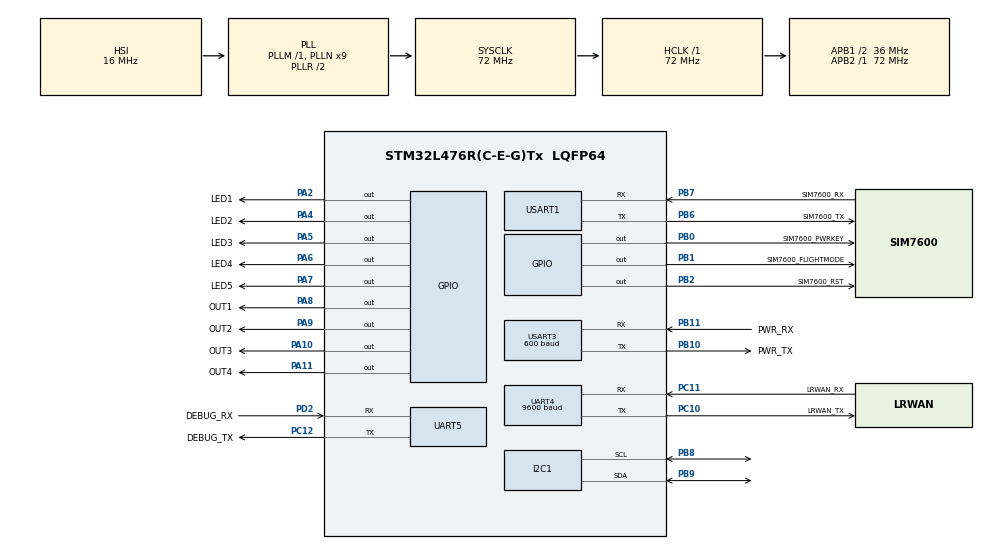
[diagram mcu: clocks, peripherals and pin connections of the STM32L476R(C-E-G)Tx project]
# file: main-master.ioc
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Mcu.Family=STM32L4
PA11.GPIO_Speed=GPIO_SPEED_FREQ_VERY_HIGH
NVIC.USART3_IRQn=true\:2\:0\:true\:false\:true\:true\:true
PA2.GPIO_PuPd=GPIO_NOPULL
TIM2.Channel-Output\ Compare1\ No\ Output=TIM_CHANNEL_1
RCC.CortexFreq_Value=72000000
PB10.Mode=Asynchronous
PA10.GPIO_PuPd=GPIO_NOPULL
PC10.Signal=UART4_TX
PC12.Signal=UART5_TX
VP_IWDG_VS_IWDG.Mode=IWDG_Activate
PB2.GPIO_Speed=GPIO_SPEED_FREQ_VERY_HIGH
PA2.GPIO_Speed=GPIO_SPEED_FREQ_VERY_HIGH
PA7.GPIO_ModeDefaultOutputPP=GPIO_MODE_OUTPUT_PP
PA6.GPIO_Label=LED4
PB0.GPIO_Label=SIM7600_PWRKEY
PB6.GPIO_Label=SIM7600_TX
PA11.GPIO_PuPd=GPIO_NOPULL
PB11.Signal=USART3_RX
PA5.PinState=GPIO_PIN_RESET
RCC.SYSCLKSource=RCC_SYSCLKSOURCE_PLLCLK
ProjectManager.StackSize=0x400
USART3.VirtualMode-Asynchronous=VM_ASYNC
PA14\ (JTCK-SWCLK).Signal=SYS_JTCK-SWCLK
USART3.BaudRate=600
PA7.PinState=GPIO_PIN_RESET
PA10.PinState=GPIO_PIN_RESET
PB0.PinState=GPIO_PIN_RESET
PB1.GPIO_PuPd=GPIO_NOPULL
UART4.BaudRate=9600
RCC.HCLKFreq_Value=72000000
RCC.APB2TimFreq_Value=72000000
PB6.Signal=USART1_TX
PB6.Mode=Asynchronous
RCC.AHBFreq_Value=72000000
RCC.HSE_VALUE=8000000
VP_TIM2_VS_no_output1.Mode=Output Compare1 No Output
PA4.GPIO_PuPd=GPIO_NOPULL
PB2.Signal=GPIO_Output
PA4.GPIO_Speed=GPIO_SPEED_FREQ_VERY_HIGH
PA11.GPIO_ModeDefaultOutputPP=GPIO_MODE_OUTPUT_PP
PA2.PinState=GPIO_PIN_RESET
PA6.GPIO_PuPd=GPIO_NOPULL
PB1.GPIO_Speed=GPIO_SPEED_FREQ_VERY_HIGH
PA5.GPIO_PuPd=GPIO_NOPULL
PB1.GPIO_Label=SIM7600_FLIGHTMODE
PC11.GPIO_Label=LRWAN_RX
NVIC.TIM2_IRQn=true\:3\:0\:true\:false\:true\:true\:true
PA10.GPIO_Label=OUT3
PB7.Signal=USART1_RX
PA8.Signal=GPIO_Output
PA8.GPIO_ModeDefaultOutputPP=GPIO_MODE_OUTPUT_PP
PB2.GPIO_PuPd=GPIO_NOPULL
RCC.UART4CLockSelection=RCC_UART4CLKSOURCE_HSI
PB1.PinState=GPIO_PIN_RESET
PB7.GPIO_Label=SIM7600_RX
Mcu.Package=LQFP64
PB9.Signal=I2C1_SDA
TIM2.Prescaler=7199
PB1.Signal=GPIO_Output
PA6.Signal=GPIO_Output
PA2.GPIO_ModeDefaultOutputPP=GPIO_MODE_OUTPUT_PP
PA2.GPIO_Label=LED1
IWDG.Reload=4000
PA10.Signal=GPIO_Output
PC11.Mode=Asynchronous
PA4.GPIO_ModeDefaultOutputPP=GPIO_MODE_OUTPUT_PP
PA10.GPIO_Speed=GPIO_SPEED_FREQ_VERY_HIGH
PA6.GPIO_ModeDefaultOutputPP=GPIO_MODE_OUTPUT_PP
RCC.UART5CLockSelection=RCC_UART5CLKSOURCE_HSI
RCC.APB1TimFreq_Value=72000000
PB0.GPIO_ModeDefaultOutputPP=GPIO_MODE_OUTPUT_PP
PA6.GPIO_Speed=GPIO_SPEED_FREQ_VERY_HIGH
PA13\ (JTMS-SWDIO).Signal=SYS_JTMS-SWDIO
NVIC.USART1_IRQn=true\:0\:0\:false\:false\:true\:true\:true
PB2.GPIO_ModeDefaultOutputPP=GPIO_MODE_OUTPUT_PP
PA4.GPIO_Label=LED2
PA8.GPIO_Speed=GPIO_SPEED_FREQ_VERY_HIGH
PA8.PinState=GPIO_PIN_RESET
NVIC.UART4_IRQn=true\:1\:0\:true\:false\:true\:true\:true
RCC.MSI_VALUE=4000000
RCC.PLLSourceVirtual=RCC_PLLSOURCE_HSI
PA14\ (JTCK-SWCLK).Mode=Serial_Wire
PC10.GPIO_Label=LRWAN_TX
PC11.Signal=UART4_RX
PA9.GPIO_Label=OUT2
RCC.I2C1CLockSelection=RCC_I2C1CLKSOURCE_HSI
PC10.Mode=Asynchronous
PB11.GPIO_Label=PWR_RX
PA11.GPIO_Label=OUT4
PA6.PinState=GPIO_PIN_RESET
RCC.APB1CLKDivider=RCC_HCLK_DIV2
PA9.GPIO_PuPd=GPIO_NOPULL
PB0.GPIO_Speed=GPIO_SPEED_FREQ_VERY_HIGH
USART1.VirtualMode-Asynchronous=VM_ASYNC
PA8.GPIO_Label=OUT1
PA4.PinState=GPIO_PIN_RESET
PB11.Mode=Asynchronous
ProjectManager.TargetToolchain=STM32CubeIDE
PB10.GPIO_Label=PWR_TX
PA10.GPIO_ModeDefaultOutputPP=GPIO_MODE_OUTPUT_PP
PB9.Mode=I2C
PA9.Signal=GPIO_Output
I2C1.Timing=0x00303D5B
PA9.PinState=GPIO_PIN_RESET
RCC.USBFreq_Value=64000000
RCC.LSE_VALUE=32768
PA7.GPIO_PuPd=GPIO_NOPULL
PB10.Signal=USART3_TX
PD2.Mode=Asynchronous
PA5.Signal=GPIO_Output
PC12.Mode=Asynchronous
board=custom
RCC.VCOOutputFreq_Value=144000000
PA7.GPIO_Speed=GPIO_SPEED_FREQ_VERY_HIGH
RCC.APB2Freq_Value=72000000
PA5.GPIO_ModeDefaultOutputPP=GPIO_MODE_OUTPUT_PP
RCC.ADCFreq_Value=64000000
TIM2.Period=9999
Mcu.Name=STM32L476R(C-E-G)Tx
PB2.PinState=GPIO_PIN_RESET
PA2.Signal=GPIO_Output
PA9.GPIO_ModeDefaultOutputPP=GPIO_MODE_OUTPUT_PP
PA13\ (JTMS-SWDIO).Mode=Serial_Wire
PA4.Signal=GPIO_Output
RCC.SYSCLKFreq_VALUE=72000000
PA7.GPIO_Label=LED5
RCC.USART1CLockSelection=RCC_USART1CLKSOURCE_HSI
PA5.GPIO_Label=LED3
PC12.GPIO_Label=DEBUG_TX
PB7.Mode=Asynchronous
PA11.Signal=GPIO_Output
PB2.GPIO_Label=SIM7600_RST
ProjectManager.HeapSize=0x200
RCC.HSI_VALUE=16000000
PA8.GPIO_PuPd=GPIO_NOPULL
PA5.GPIO_Speed=GPIO_SPEED_FREQ_VERY_HIGH
NVIC.PriorityGroup=NVIC_PRIORITYGROUP_4
PB8.Mode=I2C
RCC.PLLN=9
IWDG.Prescaler=IWDG_PRESCALER_256
PA9.GPIO_Speed=GPIO_SPEED_FREQ_VERY_HIGH
PB8.Signal=I2C1_SCL
TIM2.AutoReloadPreload=TIM_AUTORELOAD_PRELOAD_ENABLE
PB1.GPIO_ModeDefaultOutputPP=GPIO_MODE_OUTPUT_PP
PD2.Signal=UART5_RX
PA11.PinState=GPIO_PIN_RESET
RCC.APB1Freq_Value=36000000
PB0.Signal=GPIO_Output
IWDG.Window=4000
RCC.USART3CLockSelection=RCC_USART3CLKSOURCE_HSI
PD2.GPIO_Label=DEBUG_RX
PB0.GPIO_PuPd=GPIO_NOPULL
PA7.Signal=GPIO_Output

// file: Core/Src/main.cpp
/* USER CODE BEGIN Header */
/**
  ******************************************************************************
  * @file           : main.c
  * @brief          : Main program body
  ******************************************************************************
  * @attention
  *
  * <h2><center>&copy; Copyright (c) 2021 STMicroelectronics.
  * All rights reserved.</center></h2>
  *
  * This software component is licensed by ST under BSD 3-Clause license,
  * the "License"; You may not use this file except in compliance with the
  * License. You may obtain a copy of the License at:
  *                        opensource.org/licenses/BSD-3-Clause
  *
  ******************************************************************************
  */
/* USER CODE END Header */
#include "main.h"
/* USER CODE BEGIN Includes */
#include "hw.h"
#include "systemEvent.h"
/* USER CODE END Includes */

/* USER CODE BEGIN PV */

lrwan LRWAN(&huart4) ;
sim7x00 SIM7600E(&huart1) ;
power POWER(&huart3) ;
si7021_t SI7021(&hi2c1) ;
debug SYSTEM(&huart5) ;

int sysStatus = IS_NOT_WARNING ;

int warningEvent = IDLE ;
int updateEvent = IDLE ;

unsigned int MQTTtime = 0 ;
#define MQTT_PERIOD_UPDATE 30

int numTest = 0 ;

/* USER CODE END PV */

void SystemClock_Config(void);
/* USER CODE BEGIN PFP */

void getSystemData() ;
void OS_loop() ;

void HAL_UART_RxCpltCallback(UART_HandleTypeDef *huart){
	if(huart->Instance == UART4){
		LRWAN.IRQhandler() ;
	}
	if(huart->Instance == USART1){
		SIM7600E.IRQhandler() ;
	}
	if(huart->Instance == USART3){
		POWER.IRQhandler() ;
	}
}

void HAL_TIM_PeriodElapsedCallback(TIM_HandleTypeDef *htim){
	if(htim->Instance == TIM2){
		HAL_GPIO_TogglePin(LED1_GPIO_Port, LED1_Pin);

		MQTTtime++ ;
		numTest++ ;

		// Kiểm tra xem đã đến thời hạn để cập nhật dữ liệu MQTT hay chưa ?:
		if ( MQTTtime == MQTT_PERIOD_UPDATE ) {
			updateEvent = SIM_MQTT_UPDATE_DATA ;
			MQTTtime = 0 ;
		}
	}
	HAL_TIM_Base_Start_IT(&htim2) ;
}

void getSystemData() {
	SYSTEM.println("Start measuring Temperature & Humidity : ") ;

	float Temp = 0.0 ;
	float Humi = 0 ;

	// Bắt đầu đọc dữ liệu nhiệt độ và độ ẩm  :
	Temp = (float)SI7021.measureTemperature()/100 ;
	HAL_Delay(100) ;

	Humi = SI7021.measureHumidity();
	HAL_Delay(100) ;

//	// Now get Power Manager data :
	POWER.getPeriodData() ;

	char CharTemp[5] ;
	char CharHumi[5] ;
	char charStatus[1] ;
	sprintf(CharTemp, "%.2f", Temp);	// Cach chuyen float thanh char[x], Neu muon thanh char* thi ep kieu la duoc
	sprintf(CharHumi, "%.0f", Humi);	// Cach chuyen float thanh char[x], Neu muon thanh char* thi ep kieu la duoc
	sprintf(charStatus, "%d", sysStatus);

#ifdef SENSOR_DEBUG
	SYSTEM.println("Temp : ") ;
	SYSTEM.print(CharTemp) ;
	SYSTEM.println("Humi : ") ;
	SYSTEM.print(CharHumi) ;
	SYSTEM.println("Currently status : ") ;
	SYSTEM.print(charStatus) ;

	SYSTEM.println("Power data : ") ;
	SYSTEM.print(POWER.powData) ;
//	SYSTEM.println(POWER.U_out) ;
//	SYSTEM.println(POWER.spower) ;
//	SYSTEM.println(POWER.I_pv) ;
//	SYSTEM.println(POWER.I_load) ;

#endif

	// Đưa dữ liệu vào bộ đệm
	LRWAN.updateData( Temp, Humi, POWER.powData, sysStatus ) ;
//	LRWAN.updateData( Temp, Humi, "00.00", "00.00", "00.00", "00.00", sysStatus ) ;

}

void OS_loop(){

	if (  SIM7600E.rxDone_FLAG == true  ){
		SIM7600E.checkingAndProcess() ;

		SIM7600E.rxDone_FLAG = false ;
		SIM7600E.dataCount = 0 ;
		memset ( SIM7600E.rxData, 0 , (size_t)sizeof(SIM7600E.rxData)/sizeof(char) ) ;
	}

	if (  LRWAN.rxDone_FLAG == true  ){
		LRWAN.checkingAndProcess() ;

		LRWAN.rxDone_FLAG = false ;
		LRWAN.dataCount = 0 ;
		memset ( LRWAN.rxData, 0 , (size_t)sizeof(LRWAN.rxData)/sizeof(char) ) ;
	}

	switch (warningEvent) {
		case WARNING_LEVEL_1 :
			if ( sysStatus != IS_NOT_WARNING )
				SIM7600E.warningStop() ; // stop warning before new warning
			SIM7600E.warningStart(WARNING_LEVEL_1, 100) ;
			warningEvent = IDLE ;
			sysStatus = IS_WARNING_LEVEL_1 ;
			break;
		case WARNING_LEVEL_2 :
			if ( sysStatus != IS_NOT_WARNING )
				SIM7600E.warningStop() ;
			SIM7600E.warningStart(WARNING_LEVEL_2, 100) ;
			warningEvent = IDLE ;
			sysStatus = IS_WARNING_LEVEL_2 ;
			break;
		case WARNING_LEVEL_3 :
			if ( sysStatus != IS_NOT_WARNING )
				SIM7600E.warningStop() ;
			SIM7600E.warningStart(WARNING_LEVEL_3, 100) ;
			warningEvent = IDLE ;
			sysStatus = IS_WARNING_LEVEL_3 ;
			break;
		case WARNING_LEVEL_4 :
			if ( sysStatus != IS_NOT_WARNING )
				SIM7600E.warningStop() ;
			SIM7600E.warningStart(WARNING_LEVEL_4, 100) ;
			warningEvent = IDLE ;
			sysStatus = IS_WARNING_LEVEL_4 ;
			break;
		case WARNING_LEVEL_5 :
			if ( sysStatus != IS_NOT_WARNING )
				SIM7600E.warningStop() ;
			SIM7600E.warningStart(WARNING_LEVEL_5, 100) ;
			warningEvent = IDLE ;
			sysStatus = IS_WARNING_LEVEL_5 ;
			break;
		case STOP_WARNING :
			SIM7600E.warningStop() ;
			warningEvent = IDLE ;
			sysStatus = IS_NOT_WARNING ;
			break;
		case IDLE :
			// do nothing
			break ;
		default:
			SYSTEM.println("UNKNOWN WARNING EVENT !\n") ;
			break;
	}

	switch (updateEvent) {
		case SIM_MQTT_UPDATE_DATA :
			SYSTEM.println("SIM_MQTT_UPDATE_DATA") ;

			updateEvent = IDLE ;
			break;
		case LORAWAN_UPDATE_DATA :
			SYSTEM.println("LORAWAN_UPDATE_DATA") ;

			// Lấy dữ liệu hệ thống
			getSystemData() ;

			// Bắt đầu gửi lên server
			LRWAN.send() ;

			updateEvent = IDLE ;
			break;
		case IDLE :
			// do nothing
			break ;
		default:
			SYSTEM.println("UNKNOWN UPDATE EVENT !\n") ;
			break;
	}

	// enter sleep mode here
	if ( ( warningEvent == IDLE ) && (updateEvent == IDLE) ){
		// Enter sleep mode & waiting for interrupt wake-up

	}

	// Reload counter for Watchdog timer :
	IWDG->KR = 0xAAAA;
}
/* USER CODE END PFP */

int main(void)
{

  /* MCU Configuration--------------------------------------------------------*/

  /* Reset of all peripherals, Initializes the Flash interface and the Systick. */
  HAL_Init();

  /* Configure the system clock */
  SystemClock_Config();

  /* Initialize all configured peripherals */
  MX_GPIO_Init();
  MX_I2C1_Init();
  MX_IWDG_Init();
  MX_TIM2_Init();
  MX_UART4_Init();
  MX_UART5_Init();
  MX_USART1_UART_Init();
  MX_USART3_UART_Init();
  /* USER CODE BEGIN 2 */

  SYSTEM.println("\nSTARTING ... ") ;
  SYSTEM.println("\nPlease waiting for First initializing and setup... ") ;
  SYSTEM.println("\n( Make sure pressed POWER KEY button on SIM7600E module then the led is blinking )") ;
  // IO first setup
  HAL_GPIO_WritePin(GPIOA, GPIO_PIN_2  | GPIO_PIN_4  | GPIO_PIN_5 | GPIO_PIN_6  |
		  	  	  	  	   GPIO_PIN_7  | GPIO_PIN_8  | GPIO_PIN_9 | GPIO_PIN_10 |
						   GPIO_PIN_11, (GPIO_PinState) 0) ;

  // Init temperature sensor
  SI7021.init() ;

  SIM7600E.init() ;

  LRWAN.init() ;

  POWER.init() ;

  /* USER CODE END 2 */

  /* Infinite loop */
  /* USER CODE BEGIN WHILE */
  SYSTEM.println("\nComplete !") ;

  SYSTEM.println("\nNOW SYSTEM IS WORKING : ") ;

  HAL_TIM_Base_Start_IT(&htim2);

  /* USER CODE END 2 */

  /* Infinite loop */
  /* USER CODE BEGIN WHILE */
  while (1)
  {
    /* USER CODE END WHILE */

    /* USER CODE BEGIN 3 */
	  OS_loop() ;
//	  if ( numTest >= 5 ) {
//		  SYSTEM.println("Sending data to Power ") ;
//		  HAL_UART_Transmit(&huart3, (uint8_t*)"RPD\n", sizeof("RPD\n")/sizeof(uint8_t), 2000) ;
//		  numTest = 0 ;
//	  }
//	  IWDG->KR = 0xAAAA;

  }
  /* USER CODE END 3 */
}

void SystemClock_Config(void)
{
  RCC_OscInitTypeDef RCC_OscInitStruct = {0};
  RCC_ClkInitTypeDef RCC_ClkInitStruct = {0};
  RCC_PeriphCLKInitTypeDef PeriphClkInit = {0};

  /** Initializes the RCC Oscillators according to the specified parameters
  * in the RCC_OscInitTypeDef structure.
  */
  RCC_OscInitStruct.OscillatorType = RCC_OSCILLATORTYPE_HSI|RCC_OSCILLATORTYPE_LSI;
  RCC_OscInitStruct.HSIState = RCC_HSI_ON;
  RCC_OscInitStruct.HSICalibrationValue = RCC_HSICALIBRATION_DEFAULT;
  RCC_OscInitStruct.LSIState = RCC_LSI_ON;
  RCC_OscInitStruct.PLL.PLLState = RCC_PLL_ON;
  RCC_OscInitStruct.PLL.PLLSource = RCC_PLLSOURCE_HSI;
  RCC_OscInitStruct.PLL.PLLM = 1;
  RCC_OscInitStruct.PLL.PLLN = 9;
  RCC_OscInitStruct.PLL.PLLP = RCC_PLLP_DIV7;
  RCC_OscInitStruct.PLL.PLLQ = RCC_PLLQ_DIV2;
  RCC_OscInitStruct.PLL.PLLR = RCC_PLLR_DIV2;
  if (HAL_RCC_OscConfig(&RCC_OscInitStruct) != HAL_OK)
  {
    Error_Handler();
  }
  /** Initializes the CPU, AHB and APB buses clocks
  */
  RCC_ClkInitStruct.ClockType = RCC_CLOCKTYPE_HCLK|RCC_CLOCKTYPE_SYSCLK
                              |RCC_CLOCKTYPE_PCLK1|RCC_CLOCKTYPE_PCLK2;
  RCC_ClkInitStruct.SYSCLKSource = RCC_SYSCLKSOURCE_PLLCLK;
  RCC_ClkInitStruct.AHBCLKDivider = RCC_SYSCLK_DIV1;
  RCC_ClkInitStruct.APB1CLKDivider = RCC_HCLK_DIV2;
  RCC_ClkInitStruct.APB2CLKDivider = RCC_HCLK_DIV1;

  if (HAL_RCC_ClockConfig(&RCC_ClkInitStruct, FLASH_LATENCY_4) != HAL_OK)
  {
    Error_Handler();
  }
  PeriphClkInit.PeriphClockSelection = RCC_PERIPHCLK_USART1|RCC_PERIPHCLK_USART3
                              |RCC_PERIPHCLK_UART4|RCC_PERIPHCLK_UART5
                              |RCC_PERIPHCLK_I2C1;
  PeriphClkInit.Usart1ClockSelection = RCC_USART1CLKSOURCE_HSI;
  PeriphClkInit.Usart3ClockSelection = RCC_USART3CLKSOURCE_HSI;
  PeriphClkInit.Uart4ClockSelection = RCC_UART4CLKSOURCE_HSI;
  PeriphClkInit.Uart5ClockSelection = RCC_UART5CLKSOURCE_HSI;
  PeriphClkInit.I2c1ClockSelection = RCC_I2C1CLKSOURCE_HSI;
  if (HAL_RCCEx_PeriphCLKConfig(&PeriphClkInit) != HAL_OK)
  {
    Error_Handler();
  }
  /** Configure the main internal regulator output voltage
  */
  if (HAL_PWREx_ControlVoltageScaling(PWR_REGULATOR_VOLTAGE_SCALE1) != HAL_OK)
  {
    Error_Handler();
  }
}

void Error_Handler(void)
{
  __disable_irq();
  while (1)
  {
  }
}

/************************ (C) COPYRIGHT STMicroelectronics *****END OF FILE****/
